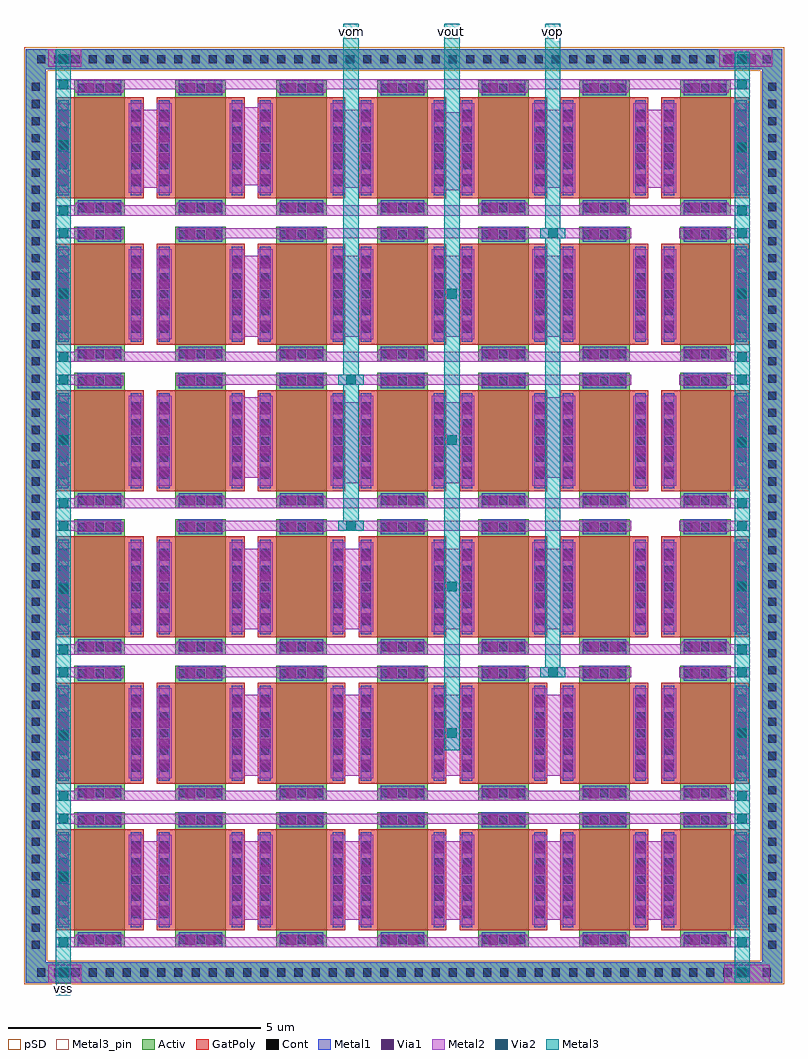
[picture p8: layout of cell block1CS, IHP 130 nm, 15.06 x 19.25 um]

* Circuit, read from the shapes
.subckt block1CS vom vop vout vss
XM1 vss vss vss vss sg13_lv_nmos w=1u l=2u m=22
XM2 vop vout vss vss sg13_lv_nmos w=1u l=2u m=10
XM3 vom vout vss vss sg13_lv_nmos w=1u l=2u m=10
.ends

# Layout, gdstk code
from math import pi, radians
import gdstk
lib = gdstk.Library(unit=1e-6, precision=1e-09)
def R(c, l, rs):  # rectangles x0, y0, x1, y1
    for r in rs: c.add(gdstk.rectangle(r[:2], r[2:], *l))
def A(c, l, x, y, w, h, nx, ny, dx, dy):  # array of equal rectangles
    R(c, l, [(x+i*dx, y+j*dy, x+i*dx+w, y+j*dy+h) for i in range(nx) for j in range(ny)])
Activ = (1, 0)
GatPoly = (5, 0)
Cont = (6, 0)
Metal1 = (8, 0)
Metal2 = (10, 0)
pSD = (14, 0)
Via1 = (19, 0)
Via2 = (29, 0)
Metal3 = (30, 0)
Metal3_pin = (30, 2)

sg13_lv_nmos_n7z7qw = lib.new_cell('sg13_lv_nmos_N7Z7QW')
R(sg13_lv_nmos_n7z7qw, Activ, [(-1.34,-0.5,1.34,0.5)])
R(sg13_lv_nmos_n7z7qw, GatPoly, [(-1,-0.87,1,0.87)])
A(sg13_lv_nmos_n7z7qw, Cont, -0.76, -0.8, 0.16, 0.16, 5, 2, 0.34, 1.44)
A(sg13_lv_nmos_n7z7qw, Cont, -1.27, -0.42, 0.16, 0.16, 1, 3, 0, 0.34)
A(sg13_lv_nmos_n7z7qw, Cont, 1.11, -0.42, 0.16, 0.16, 1, 3, 0, 0.34)
R(sg13_lv_nmos_n7z7qw, Metal1, [(-0.94,-0.825,0.94,-0.615), (-1.34,-0.43,-1.04,0.43), (1.04,-0.43,1.34,0.43), (-0.94,0.615,0.94,0.825)])
R(sg13_lv_nmos_n7z7qw, Metal2, [(-0.89,-0.865,0.89,-0.575), (-1.29,-0.47,-1.09,0.47), (1.09,-0.47,1.29,0.47), (-0.89,0.575,0.89,0.865)])
A(sg13_lv_nmos_n7z7qw, Via1, -0.71, -0.815, 0.19, 0.19, 4, 2, 0.41, 1.44)
R(sg13_lv_nmos_n7z7qw, Via1, [(-1.285,-0.3,-1.095,-0.11), (1.095,-0.3,1.285,-0.11), (-1.285,0.11,-1.095,0.3), (1.095,0.11,1.285,0.3)])
sg13_lv_nmos_n7z7qw.add(gdstk.Label('D', (-1.19,0), layer=8, texttype=25))
sg13_lv_nmos_n7z7qw.add(gdstk.Label('S', (1.19,0), layer=8, texttype=25))
sg13_lv_nmos_n7z7qw.add(gdstk.Label('G', (0,0.72), layer=8, texttype=25))

block1cs = lib.new_cell('block1CS')
R(block1cs, Activ, [(-4.7,-14.1,10.3,-13.7), (-4.7,-13.7,-4.3,4), (9.9,-13.7,10.3,4), (-4.7,4,10.3,4.4)])
A(block1cs, Cont, -4.47, -13.98, 0.16, 0.16, 42, 2, 0.34, 18.1)
A(block1cs, Cont, -4.58, -13.43, 0.16, 0.16, 1, 51, 0, 0.34)
A(block1cs, Cont, 10.02, -13.43, 0.16, 0.16, 1, 51, 0, 0.34)
R(block1cs, Cont, [(9.91,-13.98,10.07,-13.82), (9.91,4.12,10.07,4.28)])
R(block1cs, Metal1, [(-4.7,-14.1,10.3,-13.7), (-4.7,-13.7,-4.3,4), (9.9,-13.7,10.3,4), (-4.7,4,10.3,4.4)])
A(block1cs, Metal2, -2.6, -12.85, 0.75, 1.55, 6, 1, 2, 0)
A(block1cs, Metal2, 9.4, -12.15, 0.2, 0.2, 1, 3, 0, 2.9)
A(block1cs, Metal2, -4.1, -10.5, 13.75, 0.2, 1, 5, 0, 2.9)
A(block1cs, Metal2, -0.6, -10, 0.7, 1.6, 4, 2, 2, 2.9)
A(block1cs, Metal2, -4.1, -8.05, 1.3, 0.2, 1, 4, 0, 2.9)
A(block1cs, Metal2, 8.25, -8.05, 1.4, 0.2, 1, 4, 0, 2.9)
A(block1cs, Metal2, -0.6, -1.3, 0.7, 1.6, 4, 1, 2, 0)
R(block1cs, Metal2, [(-4.25,-14.1,-3.6,-13.75), (9.15,-14.1,10.05,-13.75), (-4.1,-13.4,9.65,-13.2), (-4.05,-12.1,-3.85,-11.9), (-4.1,-10.95,9.65,-10.75), (-4.05,-9.3,-3.85,-9.1), (-1.7,-8.05,7.3,-7.85), (-4.05,-6.4,-3.85,-6.2), (-1.6,-5.15,7.3,-5.1), (-1.7,-5.1,7.3,-4.95), (1.4,-4.2,2.1,-2.6), (3.4,-4.2,4.1,-2.6), (-0.6,-4.1,0.1,-2.5), (5.4,-4.1,6.1,-2.5), (9.4,-3.5,9.6,-3.3), (-4.05,-3.45,-3.85,-3.25), (-1.7,-2.25,7.3,-2.05), (-4.05,-0.55,-3.85,-0.35), (9.4,-0.55,9.6,-0.35), (-1.7,0.65,7.3,0.85), (3.35,1.6,4.145,3.15), (-2.65,1.65,-1.855,3.2), (1.35,1.65,2.145,3.2), (5.4,1.65,6.195,3.2), (7.4,1.65,8.195,3.2), (-0.6,1.7,0.195,3.25), (9.4,2.35,9.6,2.55), (-4.05,2.4,-3.85,2.6), (-4.1,3.6,9.65,3.8), (-4.25,4.05,-3.6,4.4), (9.05,4.05,10.1,4.4)])
R(block1cs, pSD, [(-4.73,-14.13,10.33,-13.67), (-4.73,-13.67,-4.27,3.97), (9.87,-13.67,10.33,3.97), (-4.73,3.97,10.33,4.43)])
R(block1cs, Via1, [(-4.02,-13.995,-3.83,-13.805), (9.38,-13.995,9.57,-13.805), (-4.02,4.105,-3.83,4.295), (9.175,4.105,9.365,4.295), (9.585,4.105,9.775,4.295)])
A(block1cs, Via2, 3.655, -9.245, 0.19, 0.19, 1, 4, 0, 2.9)
A(block1cs, Via2, 9.405, 1.105, 0.19, 0.19, 1, 3, 0, 1.25)
R(block1cs, Via2, [(-4.045,-13.995,-3.855,-13.805), (9.405,-13.995,9.595,-13.805), (-4.045,-13.395,-3.855,-13.205), (9.405,-13.395,9.595,-13.205), (9.405,-12.145,9.595,-11.955), (-4.045,-12.095,-3.855,-11.905), (-4.045,-10.945,-3.855,-10.755), (9.405,-10.945,9.595,-10.755), (-4.045,-10.495,-3.855,-10.305), (9.405,-10.495,9.595,-10.305), (-4.045,-9.295,-3.855,-9.105), (9.405,-9.245,9.595,-9.055), (-4.045,-8.045,-3.855,-7.855), (5.655,-8.045,5.845,-7.855), (9.405,-8.045,9.595,-7.855), (-4.045,-7.595,-3.855,-7.405), (9.405,-7.595,9.595,-7.405), (-4.045,-6.395,-3.855,-6.205), (9.405,-6.345,9.595,-6.155), (-4.045,-5.145,-3.855,-4.955), (1.655,-5.145,1.845,-4.955), (9.405,-5.145,9.595,-4.955), (-4.045,-4.695,-3.855,-4.505), (9.405,-4.695,9.595,-4.505), (9.405,-3.495,9.595,-3.305), (-4.045,-3.445,-3.855,-3.255), (-4.045,-2.245,-3.855,-2.055), (1.655,-2.245,1.845,-2.055), (9.405,-2.245,9.595,-2.055), (-4.045,-1.795,-3.855,-1.605), (9.405,-1.795,9.595,-1.605), (-4.045,-0.545,-3.855,-0.355), (9.405,-0.545,9.595,-0.355), (-4.045,0.655,-3.855,0.845), (5.655,0.655,5.845,0.845), (9.405,0.655,9.595,0.845), (-4.045,1.105,-3.855,1.295), (-4.045,2.405,-3.855,2.595), (-4.045,3.605,-3.855,3.795), (-4.045,4.105,-3.855,4.295), (9.405,4.105,9.595,4.295)])
R(block1cs, Metal3, [(-4.1,-14.35,-3.8,4.4), (9.35,-14.1,9.65,4.35), (3.6,-9.5,3.9,4.9), (5.5,-8.05,6,-7.85), (5.6,-7.85,5.9,0.65), (1.5,-5.15,2,-4.95), (1.6,-4.95,1.9,-2.25), (1.5,-2.25,2,-2.05), (1.6,-2.05,1.9,4.9), (5.5,0.65,6,0.85), (5.6,0.85,5.9,4.9)])
A(block1cs, Metal3_pin, 1.6, 4.6, 0.3, 0.3, 3, 1, 2, 0)
R(block1cs, Metal3_pin, [(-4.1,-14.35,-3.8,-14.1)])
block1cs.add(gdstk.Reference(sg13_lv_nmos_n7z7qw, (-3.23,-9.16), rotation=3*pi/2))
block1cs.add(gdstk.Reference(sg13_lv_nmos_n7z7qw, (-3.23,-12.06), rotation=3*pi/2))
block1cs.add(gdstk.Reference(sg13_lv_nmos_n7z7qw, (-1.23,-9.16), rotation=3*pi/2))
block1cs.add(gdstk.Reference(sg13_lv_nmos_n7z7qw, (-1.23,-12.06), rotation=3*pi/2))
block1cs.add(gdstk.Reference(sg13_lv_nmos_n7z7qw, (0.77,-9.16), rotation=3*pi/2))
block1cs.add(gdstk.Reference(sg13_lv_nmos_n7z7qw, (0.77,-12.06), rotation=3*pi/2))
block1cs.add(gdstk.Reference(sg13_lv_nmos_n7z7qw, (2.77,-9.16), rotation=3*pi/2))
block1cs.add(gdstk.Reference(sg13_lv_nmos_n7z7qw, (2.77,-12.06), rotation=3*pi/2))
block1cs.add(gdstk.Reference(sg13_lv_nmos_n7z7qw, (4.77,-9.16), rotation=3*pi/2))
block1cs.add(gdstk.Reference(sg13_lv_nmos_n7z7qw, (4.77,-12.06), rotation=3*pi/2))
block1cs.add(gdstk.Reference(sg13_lv_nmos_n7z7qw, (6.77,-9.16), rotation=3*pi/2))
block1cs.add(gdstk.Reference(sg13_lv_nmos_n7z7qw, (6.77,-12.06), rotation=3*pi/2))
block1cs.add(gdstk.Reference(sg13_lv_nmos_n7z7qw, (8.77,-9.16), rotation=3*pi/2))
block1cs.add(gdstk.Reference(sg13_lv_nmos_n7z7qw, (8.77,-12.06), rotation=3*pi/2))
block1cs.add(gdstk.Reference(sg13_lv_nmos_n7z7qw, (-3.23,-6.26), rotation=3*pi/2))
block1cs.add(gdstk.Reference(sg13_lv_nmos_n7z7qw, (-1.23,-6.26), rotation=3*pi/2))
block1cs.add(gdstk.Reference(sg13_lv_nmos_n7z7qw, (0.77,-6.26), rotation=3*pi/2))
block1cs.add(gdstk.Reference(sg13_lv_nmos_n7z7qw, (2.77,-6.26), rotation=3*pi/2))
block1cs.add(gdstk.Reference(sg13_lv_nmos_n7z7qw, (4.77,-6.26), rotation=3*pi/2))
block1cs.add(gdstk.Reference(sg13_lv_nmos_n7z7qw, (6.77,-6.26), rotation=3*pi/2))
block1cs.add(gdstk.Reference(sg13_lv_nmos_n7z7qw, (8.77,-6.26), rotation=3*pi/2))
block1cs.add(gdstk.Reference(sg13_lv_nmos_n7z7qw, (-3.23,-3.36), rotation=3*pi/2))
block1cs.add(gdstk.Reference(sg13_lv_nmos_n7z7qw, (-1.23,-3.36), rotation=3*pi/2))
block1cs.add(gdstk.Reference(sg13_lv_nmos_n7z7qw, (0.77,-3.36), rotation=3*pi/2))
block1cs.add(gdstk.Reference(sg13_lv_nmos_n7z7qw, (2.77,-3.36), rotation=3*pi/2))
block1cs.add(gdstk.Reference(sg13_lv_nmos_n7z7qw, (4.77,-3.36), rotation=3*pi/2))
block1cs.add(gdstk.Reference(sg13_lv_nmos_n7z7qw, (6.77,-3.36), rotation=3*pi/2))
block1cs.add(gdstk.Reference(sg13_lv_nmos_n7z7qw, (8.77,-3.36), rotation=3*pi/2))
block1cs.add(gdstk.Reference(sg13_lv_nmos_n7z7qw, (-3.23,-0.46), rotation=3*pi/2))
block1cs.add(gdstk.Reference(sg13_lv_nmos_n7z7qw, (-1.23,-0.46), rotation=3*pi/2))
block1cs.add(gdstk.Reference(sg13_lv_nmos_n7z7qw, (0.77,-0.46), rotation=3*pi/2))
block1cs.add(gdstk.Reference(sg13_lv_nmos_n7z7qw, (2.77,-0.46), rotation=3*pi/2))
block1cs.add(gdstk.Reference(sg13_lv_nmos_n7z7qw, (4.77,-0.46), rotation=3*pi/2))
block1cs.add(gdstk.Reference(sg13_lv_nmos_n7z7qw, (6.77,-0.46), rotation=3*pi/2))
block1cs.add(gdstk.Reference(sg13_lv_nmos_n7z7qw, (8.77,-0.46), rotation=3*pi/2))
block1cs.add(gdstk.Reference(sg13_lv_nmos_n7z7qw, (-3.23,2.44), rotation=3*pi/2))
block1cs.add(gdstk.Reference(sg13_lv_nmos_n7z7qw, (-1.23,2.44), rotation=3*pi/2))
block1cs.add(gdstk.Reference(sg13_lv_nmos_n7z7qw, (0.77,2.44), rotation=3*pi/2))
block1cs.add(gdstk.Reference(sg13_lv_nmos_n7z7qw, (2.77,2.44), rotation=3*pi/2))
block1cs.add(gdstk.Reference(sg13_lv_nmos_n7z7qw, (4.77,2.44), rotation=3*pi/2))
block1cs.add(gdstk.Reference(sg13_lv_nmos_n7z7qw, (6.77,2.44), rotation=3*pi/2))
block1cs.add(gdstk.Reference(sg13_lv_nmos_n7z7qw, (8.77,2.44), rotation=3*pi/2))
block1cs.add(gdstk.Label('vout', (3.75,4.75), layer=30, texttype=25))
block1cs.add(gdstk.Label('vom', (1.75,4.75), layer=30, texttype=25))
block1cs.add(gdstk.Label('vop', (5.75,4.75), layer=30, texttype=25))
block1cs.add(gdstk.Label('vss', (-3.95,-14.225), layer=30, texttype=25))

lib.write_gds('block1CS.gds')
